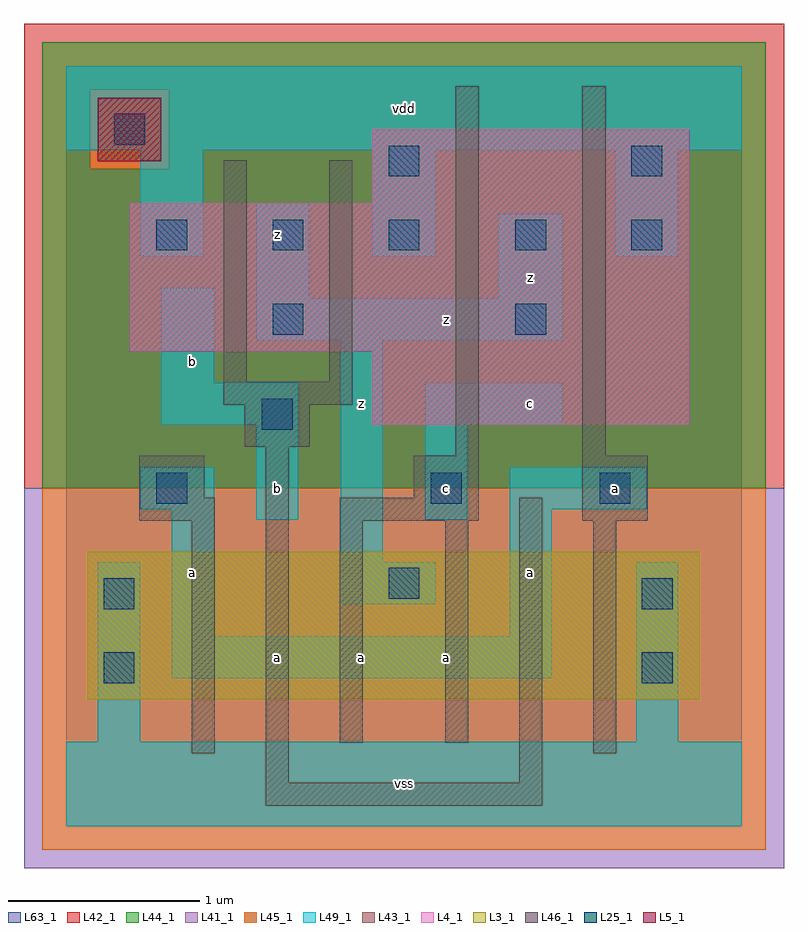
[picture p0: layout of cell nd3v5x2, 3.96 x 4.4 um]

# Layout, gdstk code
import gdstk
lib = gdstk.Library(unit=1e-6, precision=1e-09)
def R(c, l, rs):  # rectangles x0, y0, x1, y1
    for r in rs: c.add(gdstk.rectangle(r[:2], r[2:], *l))
def A(c, l, x, y, w, h, nx, ny, dx, dy):  # array of equal rectangles
    R(c, l, [(x+i*dx, y+j*dy, x+i*dx+w, y+j*dy+h) for i in range(nx) for j in range(ny)])
L3_1 = (3, 1)
L4_1 = (4, 1)
L5_1 = (5, 1)
L25_1 = (25, 1)
L41_1 = (41, 1)
L42_1 = (42, 1)
L43_1 = (43, 1)
L44_1 = (44, 1)
L45_1 = (45, 1)
L46_1 = (46, 1)
L49_1 = (49, 1)
L63_1 = (63, 1)

nd3v5x2 = lib.new_cell('nd3v5x2')
R(nd3v5x2, L3_1, [(0.11,0.66,3.3,1.43)])
R(nd3v5x2, L4_1, [(1.595,2.09,3.245,2.475), (0.33,2.475,3.245,3.245), (1.595,3.245,3.245,3.63)])
R(nd3v5x2, L5_1, [(0.165,3.465,0.495,3.795)])
A(nd3v5x2, L25_1, 0.47, 3, 0.16, 0.16, 3, 1, 0.605, 0)
R(nd3v5x2, L25_1, [(0.195,0.745,0.355,0.905), (3,0.745,3.16,0.905), (0.195,1.13,0.355,1.29), (3,1.13,3.16,1.29), (1.68,1.185,1.84,1.345), (0.47,1.68,0.63,1.84), (1.9,1.68,2.06,1.84), (2.78,1.68,2.94,1.84), (1.02,2.065,1.18,2.225), (1.075,2.56,1.235,2.72), (2.34,2.56,2.5,2.72), (2.34,3,2.5,3.16), (2.945,3,3.105,3.16), (1.68,3.385,1.84,3.545), (2.945,3.385,3.105,3.545), (0.25,3.55,0.41,3.71)])
R(nd3v5x2, L41_1, [(-0.22,-0.22,3.74,1.76)])
R(nd3v5x2, L42_1, [(-0.22,1.76,3.74,4.18)])
R(nd3v5x2, L43_1, [(0.11,0.66,3.3,1.43), (1.595,2.09,3.245,2.475), (0.33,2.475,3.245,3.245), (1.595,3.245,3.245,3.63), (0.165,3.465,0.495,3.795)])
R(nd3v5x2, L44_1, [(-0.125,1.76,3.645,3.425), (-0.125,3.425,0.125,3.835), (0.535,3.425,3.645,3.835), (-0.125,3.835,3.645,4.085)])
R(nd3v5x2, L45_1, [(-0.125,-0.125,3.645,1.76), (0.125,3.425,0.535,3.835)])
R(nd3v5x2, L46_1, [(1.04,0.105,2.48,0.225), (1.04,0.225,1.16,1.975), (2.36,0.225,2.48,1.71), (0.655,0.38,0.775,1.59), (2.745,0.38,2.865,1.59), (1.425,0.435,1.545,1.59), (1.975,0.435,2.095,1.59), (0.38,1.59,0.775,1.71), (1.425,1.59,2.15,1.71), (2.69,1.59,3.03,1.93), (0.38,1.71,0.72,1.93), (1.81,1.71,2.15,1.93), (2.03,1.93,2.15,3.855), (2.69,1.93,2.81,3.855), (0.93,1.975,1.27,2.195), (0.82,2.195,1.49,2.315), (0.82,2.315,0.94,3.47), (1.37,2.315,1.49,3.47)])
R(nd3v5x2, L49_1, [(0,0,3.52,0.44), (0.165,0.44,0.385,1.375), (2.97,0.44,3.19,1.375), (0.55,0.77,2.53,0.99), (0.55,0.99,0.77,1.65), (2.31,0.99,2.53,1.65), (1.43,1.155,1.925,1.375), (1.43,1.375,1.65,2.53), (0.99,1.595,1.21,2.09), (1.87,1.595,2.09,2.09), (0.385,1.65,0.77,1.87), (2.31,1.65,3.025,1.87), (0.495,2.09,1.21,2.31), (1.87,2.09,2.585,2.31), (0.495,2.31,0.77,2.805), (0.99,2.53,2.585,2.75), (0.99,2.75,1.265,3.245), (2.255,2.75,2.585,3.19), (0.385,2.97,0.715,3.52), (1.595,2.97,1.925,3.52), (2.86,2.97,3.19,3.52), (0,3.52,3.52,3.96)])
R(nd3v5x2, L63_1, [(0,0,3.52,3.96)])
nd3v5x2.add(gdstk.Label('a', (0.66,1.32), layer=49, texttype=1))
nd3v5x2.add(gdstk.Label('b', (0.66,2.42), layer=49, texttype=1))
nd3v5x2.add(gdstk.Label('a', (1.1,0.88), layer=49, texttype=1))
nd3v5x2.add(gdstk.Label('a', (1.54,0.88), layer=49, texttype=1))
nd3v5x2.add(gdstk.Label('b', (1.1,1.76), layer=49, texttype=1))
nd3v5x2.add(gdstk.Label('z', (1.54,2.2), layer=49, texttype=1))
nd3v5x2.add(gdstk.Label('z', (1.1,3.08), layer=49, texttype=1))
nd3v5x2.add(gdstk.Label('vss', (1.76,0.22), layer=49, texttype=1))
nd3v5x2.add(gdstk.Label('a', (1.98,0.88), layer=49, texttype=1))
nd3v5x2.add(gdstk.Label('c', (1.98,1.76), layer=49, texttype=1))
nd3v5x2.add(gdstk.Label('a', (2.42,1.32), layer=49, texttype=1))
nd3v5x2.add(gdstk.Label('c', (2.42,2.2), layer=49, texttype=1))
nd3v5x2.add(gdstk.Label('z', (1.98,2.64), layer=49, texttype=1))
nd3v5x2.add(gdstk.Label('z', (2.42,2.86), layer=49, texttype=1))
nd3v5x2.add(gdstk.Label('vdd', (1.76,3.74), layer=49, texttype=1))
nd3v5x2.add(gdstk.Label('a', (2.86,1.76), layer=49, texttype=1))

lib.write_gds('nd3v5x2.gds')
